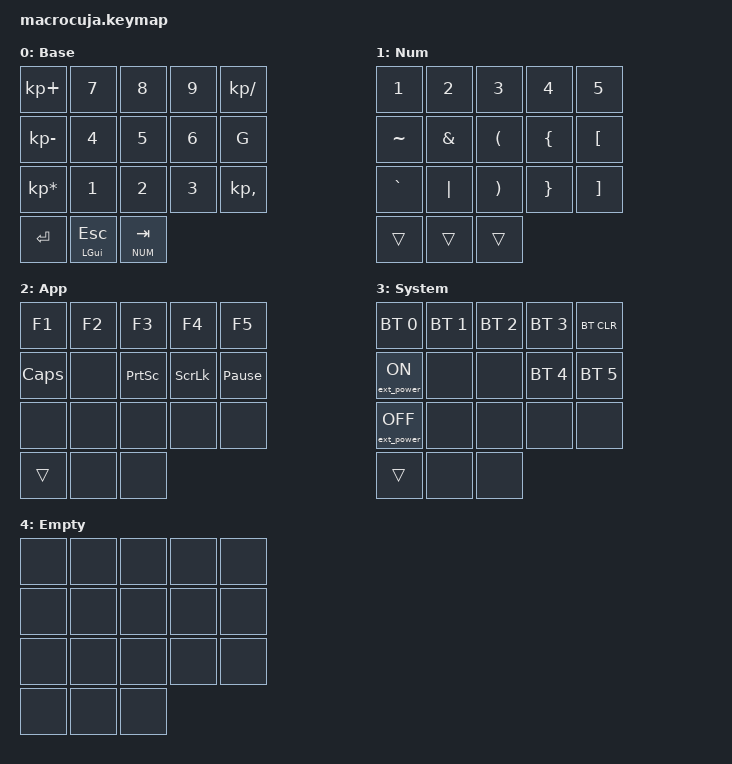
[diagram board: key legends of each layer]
/*
 * Copyright (c) 2020 The ZMK Contributors
 *
 * SPDX-License-Identifier: MIT
 */

#include <behaviors.dtsi>
#include <dt-bindings/zmk/keys.h>
#include <dt-bindings/zmk/bt.h>
#include <dt-bindings/zmk/ext_power.h>

#define DEFAULT 0
#define NUM     1
#define NAV     2
#define APP     3

&caps_word {
  continue-list = <UNDERSCORE MINUS BACKSPACE DELETE>;
};

&mt {
  quick-tap-ms = <200>;
};

/ {
  macros {

    opt_bspc: opt_bspc {
      label = "OPT_BSPC";
      compatible = "zmk,behavior-macro"; \
      #binding-cells = <0>; \
      bindings = <&macro_press &kp LALT> \
               , <&macro_tap &kp BSPC> \
               , <&macro_release &kp LALT>;
    };
  };

  conditional_layers {
    compatible = "zmk,conditional-layers";
    tri_layer {
        if-layers = <NUM NAV>;
        then-layer = <APP>;
    };
  };

  behaviors {

    hm: homerow_mods {
      compatible = "zmk,behavior-hold-tap";
      label = "HOMEROW_MODS";
      #binding-cells = <2>;
      tapping_term_ms = <250>;
      quick-tap-ms = <200>;
      global-quick-tap;
      flavor = "tap-preferred";
      bindings = <&kp>, <&kp>;
    };

    hmt: homerow_mods_no_quicktap {
      compatible = "zmk,behavior-hold-tap";
      label = "HOMEROW_MODS";
      #binding-cells = <2>;
      tapping_term_ms = <250>;
      quick-tap-ms = <200>;
      flavor = "balanced";
      bindings = <&kp>, <&kp>;
    };

    lhp: layer_hold_prefered {
      compatible = "zmk,behavior-hold-tap";
      label = "LAYER_HOLD_PREFERED";
      #binding-cells = <2>;
      tapping_term_ms = <150>;
      flavor = "hold-preferred";
      bindings = <&mo>, <&kp>;
    };

  };

  combos {
    compatible = "zmk,combos";

    #define COMBO(NAME, BINDINGS, KEYPOS, LAYERS) \
      combo_##NAME { \
        bindings = <BINDINGS>; \
        key-positions = <KEYPOS>; \
        layers = <LAYERS>; \
      };

    /*
      ╭─────────────────────╮
      │   0   1   2   3   4 │
      │   5   6   7   8   9 │ 
      │  10  11  12  13  14 |
      |  15  16  17╭────────╯
      ╰────────────╯
    */

    COMBO(caps_word, &caps_word, 10 14, DEFAULT)
  };

  keymap {
    compatible = "zmk,keymap";

    default_layer {
      label = "Base";
      bindings = <
   &kp KP_PLUS     &kp 7        &kp 8        &kp 9        &kp KP_DIVIDE
   &kp KP_MINUS    &kp 4        &kp 5        &kp 6        &kp G
   &kp KP_ASTERISK &kp 1        &kp 2        &kp 3        &kp KP_COMMA
   &kp ENTER       &mt LGUI ESC &lhp NUM TAB
      >;
    };

    num_layer {
      label = "Num";
      bindings = <
   &kp N1       &kp N2       &kp N3       &kp N4       &kp N5
   &kp TILDE    &kp AMPS     &kp LPAR     &kp LBRC     &kp LBKT
   &kp GRAVE    &kp PIPE     &kp RPAR     &kp RBRC     &kp RBKT
   &trans       &trans       &trans 
      >;
    };

    app_layer {
      label = "App";
      bindings = <
   &kp F1       &kp F2       &kp F3       &kp F4       &kp F5           
   &kp CAPS     &none        &kp PSCRN    &kp SLCK     &kp PAUSE_BREAK  
   &none        &none        &none        &none        &none            
   &trans       &none        &none            
      >;
    };

    system_layer {
      label = "System";
      bindings = <
   &bt BT_SEL 0      &bt BT_SEL 1 &bt BT_SEL 2 &bt BT_SEL 3 &bt BT_CLR 
   &ext_power EP_ON  &none        &none        &bt BT_SEL 4 &bt BT_SEL 5 
   &ext_power EP_OFF &none        &none        &none        &none        
   &trans            &none        &none      
      >;
    };

    empty_layer {
      label = "Empty";
      bindings = <
   &none        &none        &none        &none        &none 
   &none        &none        &none        &none        &none 
   &none        &none        &none        &none        &none
   &none        &none        &none
      >;
    };

  };
};

